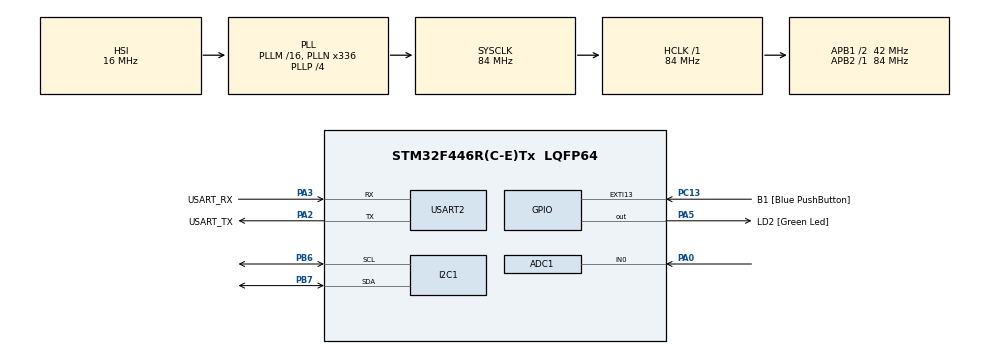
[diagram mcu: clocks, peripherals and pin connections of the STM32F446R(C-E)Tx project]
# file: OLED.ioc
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ADC1.Channel-0\#ChannelRegularConversion=ADC_CHANNEL_0
ADC1.NbrOfConversionFlag=1
ADC1.Rank-0\#ChannelRegularConversion=1
ADC1.SamplingTime-0\#ChannelRegularConversion=ADC_SAMPLETIME_3CYCLES
ADC1.master=1
FREERTOS.Tasks01=defaultTask,0,128,StartDefaultTask,Default,NULL,Dynamic,NULL,NULL;myTask01,0,128,ADCTask,Default,NULL,Dynamic,NULL,NULL;myTask03,0,128,LCDTask,Default,NULL,Dynamic,NULL,NULL
I2C1.I2C_Mode=I2C_Fast
Mcu.Family=STM32F4
Mcu.Name=STM32F446R(C-E)Tx
Mcu.Package=LQFP64
NVIC.PriorityGroup=NVIC_PRIORITYGROUP_4
NVIC.TIM6_DAC_IRQn=true\:15\:0\:false\:false\:true\:false\:false\:true\:true
NVIC.TimeBase=TIM6_DAC_IRQn
NVIC.TimeBaseIP=TIM6
PA0-WKUP.Signal=ADCx_IN0
PA13.GPIO_Label=TMS
PA13.Mode=Serial_Wire
PA13.Signal=SYS_JTMS-SWDIO
PA14.GPIO_Label=TCK
PA14.Mode=Serial_Wire
PA14.Signal=SYS_JTCK-SWCLK
PA2.GPIO_Label=USART_TX
PA2.Mode=Asynchronous
PA2.Signal=USART2_TX
PA3.GPIO_Label=USART_RX
PA3.Mode=Asynchronous
PA3.Signal=USART2_RX
PA5.GPIO_Label=LD2 [Green Led]
PA5.Signal=GPIO_Output
PB3.GPIO_Label=SWO
PB3.Signal=SYS_JTDO-SWO
PB6.Mode=I2C
PB6.Signal=I2C1_SCL
PB7.Mode=I2C
PB7.Signal=I2C1_SDA
PC13.GPIO_Label=B1 [Blue PushButton]
PC13.GPIO_ModeDefaultEXTI=GPIO_MODE_IT_FALLING
PC13.Signal=GPXTI13
PC14-OSC32_IN.Mode=LSE-External-Oscillator
PC14-OSC32_IN.Signal=RCC_OSC32_IN
PC15-OSC32_OUT.Mode=LSE-External-Oscillator
PC15-OSC32_OUT.Signal=RCC_OSC32_OUT
PH0-OSC_IN.Mode=HSE-External-Oscillator
PH0-OSC_IN.Signal=RCC_OSC_IN
PH1-OSC_OUT.Mode=HSE-External-Oscillator
PH1-OSC_OUT.Signal=RCC_OSC_OUT
ProjectManager.HeapSize=0x200
ProjectManager.StackSize=0x400
ProjectManager.TargetToolchain=STM32CubeIDE
RCC.48MHZClocksFreq_Value=84000000
RCC.AHBFreq_Value=84000000
RCC.APB1CLKDivider=RCC_HCLK_DIV2
RCC.APB1Freq_Value=42000000
RCC.APB1TimFreq_Value=84000000
RCC.APB2Freq_Value=84000000
RCC.APB2TimFreq_Value=84000000
RCC.CortexFreq_Value=84000000
RCC.FLatency-AdvancedSettings=FLASH_LATENCY_2
RCC.HCLKFreq_Value=84000000
RCC.HSE_VALUE=8000000
RCC.HSI_VALUE=16000000
RCC.PLLN=336
RCC.PLLP=RCC_PLLP_DIV4
RCC.SYSCLKFreq_VALUE=84000000
RCC.SYSCLKSource=RCC_SYSCLKSOURCE_PLLCLK
RCC.USBFreq_Value=168000000
RCC.VCOOutputFreq_Value=336000000
SH.ADCx_IN0.0=ADC1_IN0,IN0
USART2.VirtualMode=VM_ASYNC
VP_FREERTOS_VS_CMSIS_V1.Mode=CMSIS_V1
VP_SYS_VS_tim6.Mode=TIM6
board=NUCLEO-F446RE

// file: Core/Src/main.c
/* USER CODE BEGIN Header */
/**
  ******************************************************************************
  * @file           : main.c
  * @brief          : Main program body
  ******************************************************************************
  * @attention
  *
  * Copyright (c) 2024 STMicroelectronics.
  * All rights reserved.
  *
  * This software is licensed under terms that can be found in the LICENSE file
  * in the root directory of this software component.
  * If no LICENSE file comes with this software, it is provided AS-IS.
  *
  ******************************************************************************
  */
/* USER CODE END Header */
#include "main.h"
#include "cmsis_os.h"

/* USER CODE BEGIN Includes */
#include "fonts.h"
#include "ssd1306.h"
#include "stdio.h"
#include "string.h"

/* USER CODE END Includes */

ADC_HandleTypeDef hadc1;

I2C_HandleTypeDef hi2c1;

UART_HandleTypeDef huart2;

osThreadId defaultTaskHandle;
osThreadId myTask01Handle;
osThreadId myTask03Handle;
char msg[12];

void SystemClock_Config(void);
static void MX_GPIO_Init(void);
static void MX_USART2_UART_Init(void);
static void MX_I2C1_Init(void);
static void MX_ADC1_Init(void);
void StartDefaultTask(void const * argument);
void ADCTask(void const * argument);
void LCDTask(void const * argument);

/* USER CODE BEGIN PFP */
uint32_t sensorValue = 0;
float fvoltage = 0;
/* USER CODE END PFP */

/* USER CODE BEGIN 0 */
int uart2_write(int ch)
{
	/*Make sure the transmit data register is empty*/
	while(!(USART2->SR & USART_SR_TXE)){}

	 /*Write to transmit data register*/
	USART2->DR	=  (ch & 0xFF);
	return ch;
}

int __io_putchar(int ch)
{
	uart2_write(ch);
	return ch;
}

/* USER CODE END 0 */

int main(void)
{

  /* MCU Configuration--------------------------------------------------------*/

  /* Reset of all peripherals, Initializes the Flash interface and the Systick. */
  HAL_Init();

  /* Configure the system clock */
  SystemClock_Config();

  /* Initialize all configured peripherals */
  MX_GPIO_Init();
  MX_USART2_UART_Init();
  MX_I2C1_Init();
  MX_ADC1_Init();
  /* USER CODE BEGIN 2 */

  SSD1306_Init();

  SSD1306_GotoXY (0,0);
  SSD1306_Puts ("Voltage: ", &Font_11x18, 1);

  /* USER CODE END 2 */

  /* Create the thread(s) */
  /* definition and creation of defaultTask */
  osThreadDef(defaultTask, StartDefaultTask, osPriorityNormal, 0, 128);
  defaultTaskHandle = osThreadCreate(osThread(defaultTask), NULL);

  /* definition and creation of myTask01 */
  osThreadDef(myTask01, ADCTask, osPriorityNormal, 0, 128);
  myTask01Handle = osThreadCreate(osThread(myTask01), NULL);

  /* definition and creation of myTask03 */
  osThreadDef(myTask03, LCDTask, osPriorityNormal, 0, 128);
  myTask03Handle = osThreadCreate(osThread(myTask03), NULL);

  /* Start scheduler */
  osKernelStart();

  //Task1Handle = osThreadNew(StartTask1, NULL, &Task1_attributes);

  /* We should never get here as control is now taken by the scheduler */
  /* Infinite loop */
  /* USER CODE BEGIN WHILE */
//  while (1)
//  {
//	  	  /*1. Start ADC */
//	  	 HAL_ADC_Start(&hadc1);
//
//	  	 /*2. Poll for conversion */
//	  	 HAL_ADC_PollForConversion(&hadc1,1);
//
//	  	 /*3. Get conversion */
//	  	 sensorValue = HAL_ADC_GetValue(&hadc1);
//	  	 fvoltage = (float)sensorValue * (3.3/4095.0);
//
//		  sprintf(msg, "%.2f V", fvoltage);
//
//
//		  HAL_UART_Transmit(&huart2, (uint8_t*)msg, strlen(msg), HAL_MAX_DELAY);
//
//	  	 SSD1306_GotoXY (0, 30);
//		SSD1306_UpdateScreen();
//		SSD1306_Puts (msg, &Font_11x18, 1);
//		SSD1306_UpdateScreen();
//		HAL_Delay (500);
//    /* USER CODE END WHILE */
//
//    /* USER CODE BEGIN 3 */
//  }
  /* USER CODE END 3 */
}

void SystemClock_Config(void)
{
  RCC_OscInitTypeDef RCC_OscInitStruct = {0};
  RCC_ClkInitTypeDef RCC_ClkInitStruct = {0};

  /** Configure the main internal regulator output voltage
  */
  __HAL_RCC_PWR_CLK_ENABLE();
  __HAL_PWR_VOLTAGESCALING_CONFIG(PWR_REGULATOR_VOLTAGE_SCALE3);

  /** Initializes the RCC Oscillators according to the specified parameters
  * in the RCC_OscInitTypeDef structure.
  */
  RCC_OscInitStruct.OscillatorType = RCC_OSCILLATORTYPE_HSI;
  RCC_OscInitStruct.HSIState = RCC_HSI_ON;
  RCC_OscInitStruct.HSICalibrationValue = RCC_HSICALIBRATION_DEFAULT;
  RCC_OscInitStruct.PLL.PLLState = RCC_PLL_ON;
  RCC_OscInitStruct.PLL.PLLSource = RCC_PLLSOURCE_HSI;
  RCC_OscInitStruct.PLL.PLLM = 16;
  RCC_OscInitStruct.PLL.PLLN = 336;
  RCC_OscInitStruct.PLL.PLLP = RCC_PLLP_DIV4;
  RCC_OscInitStruct.PLL.PLLQ = 2;
  RCC_OscInitStruct.PLL.PLLR = 2;
  if (HAL_RCC_OscConfig(&RCC_OscInitStruct) != HAL_OK)
  {
    Error_Handler();
  }

  /** Initializes the CPU, AHB and APB buses clocks
  */
  RCC_ClkInitStruct.ClockType = RCC_CLOCKTYPE_HCLK|RCC_CLOCKTYPE_SYSCLK
                              |RCC_CLOCKTYPE_PCLK1|RCC_CLOCKTYPE_PCLK2;
  RCC_ClkInitStruct.SYSCLKSource = RCC_SYSCLKSOURCE_PLLCLK;
  RCC_ClkInitStruct.AHBCLKDivider = RCC_SYSCLK_DIV1;
  RCC_ClkInitStruct.APB1CLKDivider = RCC_HCLK_DIV2;
  RCC_ClkInitStruct.APB2CLKDivider = RCC_HCLK_DIV1;

  if (HAL_RCC_ClockConfig(&RCC_ClkInitStruct, FLASH_LATENCY_2) != HAL_OK)
  {
    Error_Handler();
  }
}

static void MX_ADC1_Init(void)
{

  ADC_ChannelConfTypeDef sConfig = {0};

  /** Configure the global features of the ADC (Clock, Resolution, Data Alignment and number of conversion)
  */
  hadc1.Instance = ADC1;
  hadc1.Init.ClockPrescaler = ADC_CLOCK_SYNC_PCLK_DIV4;
  hadc1.Init.Resolution = ADC_RESOLUTION_12B;
  hadc1.Init.ScanConvMode = DISABLE;
  hadc1.Init.ContinuousConvMode = DISABLE;
  hadc1.Init.DiscontinuousConvMode = DISABLE;
  hadc1.Init.ExternalTrigConvEdge = ADC_EXTERNALTRIGCONVEDGE_NONE;
  hadc1.Init.ExternalTrigConv = ADC_SOFTWARE_START;
  hadc1.Init.DataAlign = ADC_DATAALIGN_RIGHT;
  hadc1.Init.NbrOfConversion = 1;
  hadc1.Init.DMAContinuousRequests = DISABLE;
  hadc1.Init.EOCSelection = ADC_EOC_SINGLE_CONV;
  if (HAL_ADC_Init(&hadc1) != HAL_OK)
  {
    Error_Handler();
  }

  /** Configure for the selected ADC regular channel its corresponding rank in the sequencer and its sample time.
  */
  sConfig.Channel = ADC_CHANNEL_0;
  sConfig.Rank = 1;
  sConfig.SamplingTime = ADC_SAMPLETIME_3CYCLES;
  if (HAL_ADC_ConfigChannel(&hadc1, &sConfig) != HAL_OK)
  {
    Error_Handler();
  }

}

static void MX_I2C1_Init(void)
{

  hi2c1.Instance = I2C1;
  hi2c1.Init.ClockSpeed = 400000;
  hi2c1.Init.DutyCycle = I2C_DUTYCYCLE_2;
  hi2c1.Init.OwnAddress1 = 0;
  hi2c1.Init.AddressingMode = I2C_ADDRESSINGMODE_7BIT;
  hi2c1.Init.DualAddressMode = I2C_DUALADDRESS_DISABLE;
  hi2c1.Init.OwnAddress2 = 0;
  hi2c1.Init.GeneralCallMode = I2C_GENERALCALL_DISABLE;
  hi2c1.Init.NoStretchMode = I2C_NOSTRETCH_DISABLE;
  if (HAL_I2C_Init(&hi2c1) != HAL_OK)
  {
    Error_Handler();
  }

}

static void MX_USART2_UART_Init(void)
{

  huart2.Instance = USART2;
  huart2.Init.BaudRate = 115200;
  huart2.Init.WordLength = UART_WORDLENGTH_8B;
  huart2.Init.StopBits = UART_STOPBITS_1;
  huart2.Init.Parity = UART_PARITY_NONE;
  huart2.Init.Mode = UART_MODE_TX_RX;
  huart2.Init.HwFlowCtl = UART_HWCONTROL_NONE;
  huart2.Init.OverSampling = UART_OVERSAMPLING_16;
  if (HAL_UART_Init(&huart2) != HAL_OK)
  {
    Error_Handler();
  }

}

static void MX_GPIO_Init(void)
{
  GPIO_InitTypeDef GPIO_InitStruct = {0};

  /* GPIO Ports Clock Enable */
  __HAL_RCC_GPIOC_CLK_ENABLE();
  __HAL_RCC_GPIOH_CLK_ENABLE();
  __HAL_RCC_GPIOA_CLK_ENABLE();
  __HAL_RCC_GPIOB_CLK_ENABLE();

  /*Configure GPIO pin Output Level */
  HAL_GPIO_WritePin(LD2_GPIO_Port, LD2_Pin, GPIO_PIN_RESET);

  /*Configure GPIO pin : B1_Pin */
  GPIO_InitStruct.Pin = B1_Pin;
  GPIO_InitStruct.Mode = GPIO_MODE_IT_FALLING;
  GPIO_InitStruct.Pull = GPIO_NOPULL;
  HAL_GPIO_Init(B1_GPIO_Port, &GPIO_InitStruct);

  /*Configure GPIO pin : LD2_Pin */
  GPIO_InitStruct.Pin = LD2_Pin;
  GPIO_InitStruct.Mode = GPIO_MODE_OUTPUT_PP;
  GPIO_InitStruct.Pull = GPIO_NOPULL;
  GPIO_InitStruct.Speed = GPIO_SPEED_FREQ_LOW;
  HAL_GPIO_Init(LD2_GPIO_Port, &GPIO_InitStruct);

}

void StartDefaultTask(void const * argument)
{
  for(;;)
  {
    osDelay(1);
  }
}

void ADCTask(void const * argument)
{
  /* USER CODE BEGIN ADCTask */
  /* Infinite loop */
  for(;;)
  {
	  	 HAL_ADC_Start(&hadc1);

	  	 /*2. Poll for conversion */
	  	 HAL_ADC_PollForConversion(&hadc1,1);

	  	 /*3. Get conversion */
	  	 sensorValue = HAL_ADC_GetValue(&hadc1);
	  	 fvoltage = (float)sensorValue * (3.3/4095.0);

		  sprintf(msg, "%.2f V", fvoltage);

		  HAL_UART_Transmit(&huart2, (uint8_t*)msg, strlen(msg), HAL_MAX_DELAY);
  }
  /* USER CODE END ADCTask */
}

void LCDTask(void const * argument)
{
  /* USER CODE BEGIN LCDTask */
  /* Infinite loop */
  for(;;)
  {
	  	 SSD1306_GotoXY (0, 30);
		SSD1306_UpdateScreen();
		SSD1306_Puts (msg, &Font_11x18, 1);
		SSD1306_UpdateScreen();
		HAL_Delay (500);
  }
  /* USER CODE END LCDTask */
}

void HAL_TIM_PeriodElapsedCallback(TIM_HandleTypeDef *htim)
{
  if (htim->Instance == TIM6) {
    HAL_IncTick();
  }
}

void Error_Handler(void)
{
  __disable_irq();
  while (1)
  {
  }
}
